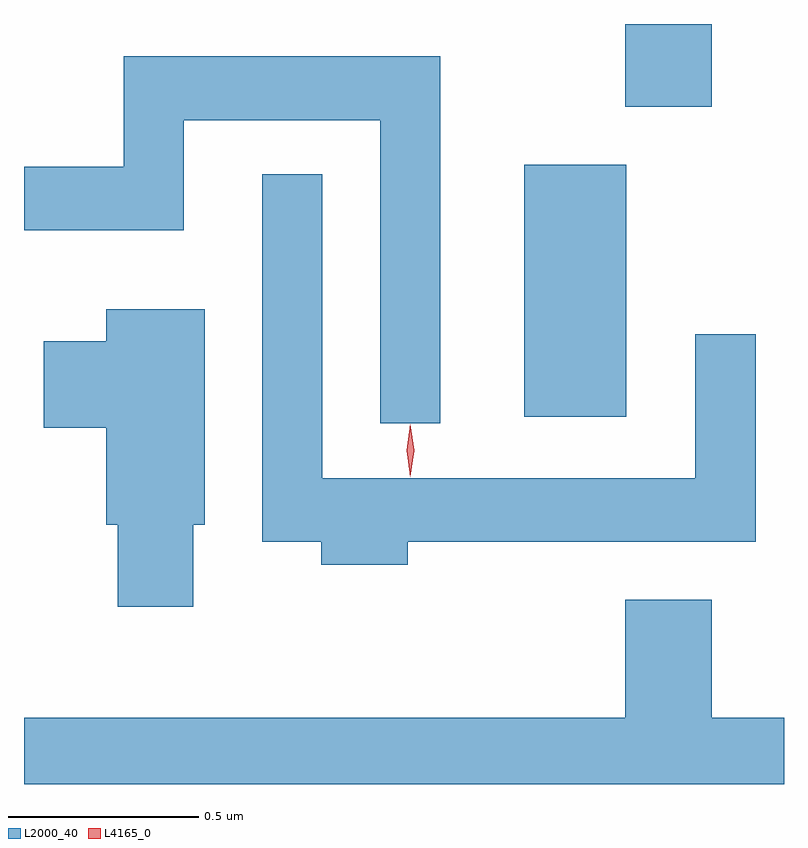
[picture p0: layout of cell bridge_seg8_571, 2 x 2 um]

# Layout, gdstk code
import gdstk
lib = gdstk.Library(unit=1e-6, precision=1e-09)
def R(c, l, rs):  # rectangles x0, y0, x1, y1
    for r in rs: c.add(gdstk.rectangle(r[:2], r[2:], *l))
def P(c, l, *ps):  # polygons
    for p in ps: c.add(gdstk.Polygon(p, *l))
L2000_40 = (2000, 40)
L4165_0 = (4165, 0)

bridge_seg8_571 = lib.new_cell('bridge_seg8_571')
R(bridge_seg8_571, L2000_40, [(613.006,1819.716,613.274,1820.379), (613.271,1820.531,613.499,1820.749)])
P(bridge_seg8_571, L2000_40, [(612.784,1820.664),(611.951,1820.664),(611.951,1820.374),(611.689,1820.374),(611.689,1820.206),(612.109,1820.206),(612.109,1820.496),(612.626,1820.496),(612.626,1819.698),(612.784,1819.698)],
  [(612.699,1819.386),(613.614,1819.386),(613.614,1819.933),(613.456,1819.933),(613.456,1819.554),(612.474,1819.554),(612.474,1820.353),(612.316,1820.353),(612.316,1819.386),(612.471,1819.386),(612.471,1819.326),(612.699,1819.326)],
  [(612.134,1819.431),(612.164,1819.431),(612.164,1819.999),(611.906,1819.999),(611.906,1819.914),(611.741,1819.914),(611.741,1819.686),(611.906,1819.686),(611.906,1819.431),(611.936,1819.431),(611.936,1819.216),(612.134,1819.216)],
  [(613.689,1818.924),(613.499,1818.924),(613.499,1819.234),(613.271,1819.234),(613.271,1818.924),(611.689,1818.924),(611.689,1818.749),(613.689,1818.749)])
P(bridge_seg8_571, L4165_0, [(612.706,1819.557),(612.705,1819.558),(612.696,1819.627),(612.705,1819.696),(612.706,1819.696),(612.706,1819.696),(612.716,1819.627),(612.706,1819.558)],
  [(612.706,1819.559),(612.705,1819.56),(612.696,1819.626),(612.705,1819.692),(612.706,1819.693),(612.706,1819.692),(612.716,1819.626),(612.706,1819.56)])

lib.write_gds('bridge_seg8_571.gds')
